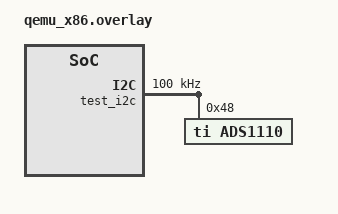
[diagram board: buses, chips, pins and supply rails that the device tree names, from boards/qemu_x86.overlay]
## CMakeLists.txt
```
# Copyright (c) 2026 FoBE Studio
# SPDX-License-Identifier: Apache-2.0

cmake_minimum_required(VERSION 3.20.0)

find_package(Zephyr REQUIRED HINTS $ENV{ZEPHYR_BASE})
project(ads1110_test)

target_sources(app PRIVATE src/main.c)
```

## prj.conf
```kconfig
CONFIG_ZTEST=y
CONFIG_ASSERT=y

CONFIG_LOG=y
CONFIG_LOG_MODE_MINIMAL=y

CONFIG_EMUL=y
CONFIG_I2C=y
CONFIG_I2C_EMUL=y
CONFIG_ADC=y
CONFIG_ADC_ASYNC=y
CONFIG_ADC_ADS1110=y
CONFIG_ADC_ADS1110_ACQUISITION_THREAD_STACK_SIZE=1024
```

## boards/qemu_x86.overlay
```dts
/*
 * Copyright (c) 2026 FoBE Studio
 *
 * SPDX-License-Identifier: Apache-2.0
 */

#include <zephyr/dt-bindings/i2c/i2c.h>

/ {
	test_i2c: i2c@100 {
		compatible = "zephyr,i2c-emul-controller";
		clock-frequency = <I2C_BITRATE_STANDARD>;
		#address-cells = <1>;
		#size-cells = <0>;
		reg = <0x100 4>;
		status = "okay";

		ads1110: adc@48 {
			compatible = "ti,ads1110";
			reg = <0x48>;
			#io-channel-cells = <1>;
			status = "okay";
		};
	};
};
```

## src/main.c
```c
/*
 * Copyright (c) 2026 FoBE Studio
 *
 * SPDX-License-Identifier: Apache-2.0
 */

#include <zephyr/device.h>
#include <zephyr/drivers/adc.h>
#include <zephyr/drivers/emul.h>
#include <zephyr/drivers/i2c.h>
#include <zephyr/drivers/i2c_emul.h>
#include <zephyr/kernel.h>
#include <zephyr/sys/byteorder.h>
#include <zephyr/ztest.h>

#define ADS_NODE DT_NODELABEL(ads1110)

#define ADS1110_ST_DRDY BIT(7)
#define ADS1110_GAIN_MASK BIT_MASK(2)
#define ADS1110_DR_MASK (BIT_MASK(2) << 2)
#define ADS1110_DR_SHIFT 2

struct ads1110_emul_data {
	uint8_t config;
	uint8_t writes[16];
	uint8_t write_count;
	uint8_t busy_reads;
	uint8_t config_reads;
	int16_t sample;
};

static struct ads1110_emul_data ads_emul_data;
static const struct device *const ads_dev = DEVICE_DT_GET(ADS_NODE);

static void ads1110_emul_reset(void)
{
	ads_emul_data.config = 0x8c;
	ads_emul_data.write_count = 0;
	ads_emul_data.busy_reads = 0;
	ads_emul_data.config_reads = 0;
	ads_emul_data.sample = 0;
}

static int ads1110_emul_transfer(const struct emul *target, struct i2c_msg *msgs, int num_msgs,
				 int addr)
{
	struct ads1110_emul_data *data = target->data;

	ARG_UNUSED(addr);

	if (num_msgs != 1) {
		return -EIO;
	}

	if ((msgs[0].flags & I2C_MSG_READ) != 0) {
		uint8_t status = data->config;

		if (msgs[0].len != 3U) {
			return -EIO;
		}

		if (data->busy_reads > 0U) {
			status |= ADS1110_ST_DRDY;
			data->busy_reads--;
		} else {
			status &= (uint8_t)~ADS1110_ST_DRDY;
		}

		sys_put_be16((uint16_t)data->sample, msgs[0].buf);
		msgs[0].buf[2] = status;
		data->config_reads++;
		return 0;
	}

	if (msgs[0].len != 1U) {
		return -EIO;
	}

	data->config = msgs[0].buf[0];
	if (data->write_count < ARRAY_SIZE(data->writes)) {
		data->writes[data->write_count++] = data->config;
	}

	return 0;
}

static int ads1110_emul_init(const struct emul *target, const struct device *parent)
{
	ARG_UNUSED(target);
	ARG_UNUSED(parent);

	ads1110_emul_reset();
	return 0;
}

static const struct i2c_emul_api ads1110_emul_api = {
	.transfer = ads1110_emul_transfer,
};

EMUL_DT_DEFINE(ADS_NODE, ads1110_emul_init, &ads_emul_data, NULL, &ads1110_emul_api, NULL);

static struct adc_channel_cfg ads1110_channel_cfg(enum adc_gain gain, uint16_t acq_time)
{
	return (struct adc_channel_cfg){
		.gain = gain,
		.reference = ADC_REF_INTERNAL,
		.acquisition_time = acq_time,
		.channel_id = 0,
		.differential = false,
		.input_positive = 0,
	};
}

static struct adc_channel_cfg ads1110_diff_channel_cfg(void)
{
	return (struct adc_channel_cfg){
		.gain = ADC_GAIN_1,
		.reference = ADC_REF_INTERNAL,
		.acquisition_time = ADC_ACQ_TIME_DEFAULT,
		.channel_id = 0,
		.differential = true,
		.input_positive = 0,
		.input_negative = 1,
	};
}

static int ads1110_read_resolution(uint8_t resolution, int16_t *sample)
{
	struct adc_sequence sequence = {
		.channels = BIT(0),
		.buffer = sample,
		.buffer_size = sizeof(*sample),
		.resolution = resolution,
	};

	return adc_read(ads_dev, &sequence);
}

static void *ads1110_setup(void)
{
	zassert_true(device_is_ready(ads_dev));

	return NULL;
}

static void ads1110_before(void *fixture)
{
	struct adc_channel_cfg cfg = ads1110_channel_cfg(ADC_GAIN_1, ADC_ACQ_TIME_DEFAULT);

	ARG_UNUSED(fixture);

	ads1110_emul_reset();
	zassert_ok(adc_channel_setup(ads_dev, &cfg));
	ads_emul_data.write_count = 0;
}

ZTEST(ads1110, test_gain_mapping)
{
	const struct {
		enum adc_gain gain;
		uint8_t reg_gain;
	} cases[] = {
		{ADC_GAIN_1, 0},
		{ADC_GAIN_2, 1},
		{ADC_GAIN_4, 2},
		{ADC_GAIN_8, 3},
	};

	for (size_t i = 0; i < ARRAY_SIZE(cases); i++) {
		struct adc_channel_cfg cfg =
			ads1110_channel_cfg(cases[i].gain, ADC_ACQ_TIME_DEFAULT);

		ads1110_emul_reset();
		zassert_ok(adc_channel_setup(ads_dev, &cfg));
		zassert_equal(ads_emul_data.config & ADS1110_GAIN_MASK, cases[i].reg_gain);
	}
}

ZTEST(ads1110, test_unsupported_fractional_gain)
{
	struct adc_channel_cfg cfg = ads1110_channel_cfg(ADC_GAIN_1_2, ADC_ACQ_TIME_DEFAULT);

	zassert_equal(adc_channel_setup(ads_dev, &cfg), -EINVAL);
}

ZTEST(ads1110, test_differential_input_0_1_supported)
{
	struct adc_channel_cfg cfg = ads1110_diff_channel_cfg();

	zassert_ok(adc_channel_setup(ads_dev, &cfg));
}

ZTEST(ads1110, test_unsupported_input_selection)
{
	struct adc_channel_cfg cfg = ads1110_channel_cfg(ADC_GAIN_1, ADC_ACQ_TIME_DEFAULT);

	cfg.input_positive = 1;
	zassert_equal(adc_channel_setup(ads_dev, &cfg), -EINVAL);

	cfg = ads1110_diff_channel_cfg();
	cfg.input_negative = 0;
	zassert_equal(adc_channel_setup(ads_dev, &cfg), -EINVAL);
}

ZTEST(ads1110, test_resolution_selects_data_rate_and_starts_conversion)
{
	const struct {
		uint8_t resolution;
		uint8_t dr;
	} cases[] = {
		{12, 0},
		{14, 1},
		{15, 2},
		{16, 3},
	};

	for (size_t i = 0; i < ARRAY_SIZE(cases); i++) {
		int16_t sample = 0;
		uint8_t start_config;

		ads_emul_data.write_count = 0;
		ads_emul_data.sample = (int16_t)(0x1200 + i);
		zassert_ok(ads1110_read_resolution(cases[i].resolution, &sample));
		zassert_equal(sample, ads_emul_data.sample);
		zassert_true(ads_emul_data.write_count >= 1U);
		start_config = ads_emul_data.writes[ads_emul_data.write_count - 1U];
		zassert_true((start_config & ADS1110_ST_DRDY) != 0);
		zassert_equal((start_config & ADS1110_DR_MASK) >> ADS1110_DR_SHIFT,
			      cases[i].dr);
	}
}

ZTEST(ads1110, test_explicit_acquisition_time_must_match_resolution)
{
	struct adc_channel_cfg cfg =
		ads1110_channel_cfg(ADC_GAIN_1, ADC_ACQ_TIME(ADC_ACQ_TIME_TICKS, 0));
	int16_t sample = 0;

	zassert_ok(adc_channel_setup(ads_dev, &cfg));
	zassert_equal(ads1110_read_resolution(16, &sample), -EINVAL);
	zassert_ok(ads1110_read_resolution(12, &sample));
}

ZTEST(ads1110, test_ready_busy_then_ready)
{
	int16_t sample = 0;

	ads_emul_data.sample = 0x3456;
	ads_emul_data.busy_reads = 2;
	zassert_ok(ads1110_read_resolution(12, &sample));
	zassert_equal(sample, 0x3456);
	zassert_true(ads_emul_data.config_reads >= 3U);
}

ZTEST(ads1110, test_ready_timeout)
{
	int16_t sample = 0;

	ads_emul_data.busy_reads = UINT8_MAX;
	zassert_equal(ads1110_read_resolution(12, &sample), -ETIMEDOUT);
}

ZTEST(ads1110, test_async_read)
{
	struct k_poll_signal signal;
	struct k_poll_event event;
	struct adc_sequence sequence;
	int16_t sample = 0;
	int signaled;
	int result;

	k_poll_signal_init(&signal);
	event = (struct k_poll_event)K_POLL_EVENT_INITIALIZER(K_POLL_TYPE_SIGNAL,
							     K_POLL_MODE_NOTIFY_ONLY,
							     &signal);
	sequence = (struct adc_sequence){
		.channels = BIT(0),
		.buffer = &sample,
		.buffer_size = sizeof(sample),
		.resolution = 12,
	};

	ads_emul_data.sample = 0x1234;
	zassert_ok(adc_read_async(ads_dev, &sequence, &signal));
	zassert_ok(k_poll(&event, 1, K_SECONDS(1)));
	k_poll_signal_check(&signal, &signaled, &result);
	zassert_true(signaled);
	zassert_ok(result);
	zassert_equal(sample, 0x1234);
}

ZTEST_SUITE(ads1110, NULL, ads1110_setup, ads1110_before, NULL, NULL);
```
